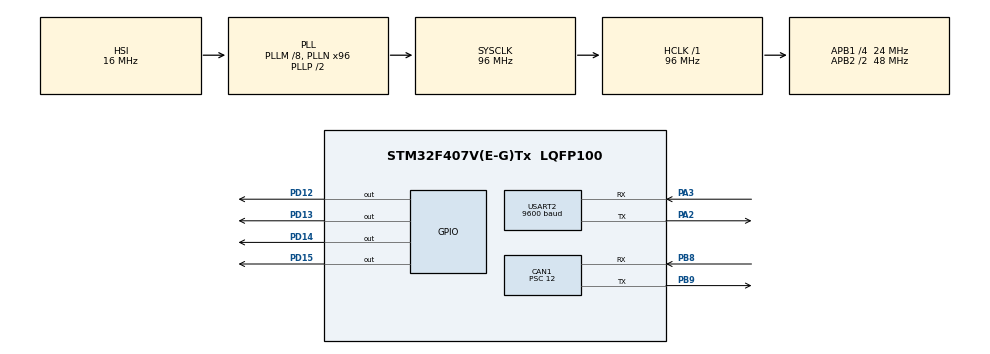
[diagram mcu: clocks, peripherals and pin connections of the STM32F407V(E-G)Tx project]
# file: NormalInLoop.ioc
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CAN1.BS1=CAN_BS1_13TQ
CAN1.BS2=CAN_BS2_2TQ
CAN1.CalculateBaudRate=125000
CAN1.CalculateTimeBit=8000
CAN1.CalculateTimeQuantum=500.0
CAN1.Prescaler=12
Mcu.Family=STM32F4
Mcu.Name=STM32F407V(E-G)Tx
Mcu.Package=LQFP100
NVIC.CAN1_RX0_IRQn=true\:0\:0\:false\:false\:true\:true\:true\:true
NVIC.PriorityGroup=NVIC_PRIORITYGROUP_0
PA2.Mode=Asynchronous
PA2.Signal=USART2_TX
PA3.Mode=Asynchronous
PA3.Signal=USART2_RX
PB8.Mode=CAN_Activate
PB8.Signal=CAN1_RX
PB9.Mode=CAN_Activate
PB9.Signal=CAN1_TX
PD12.Signal=GPIO_Output
PD13.Signal=GPIO_Output
PD14.Signal=GPIO_Output
PD15.Signal=GPIO_Output
PH0-OSC_IN.Mode=HSE-External-Oscillator
PH0-OSC_IN.Signal=RCC_OSC_IN
PH1-OSC_OUT.Mode=HSE-External-Oscillator
PH1-OSC_OUT.Signal=RCC_OSC_OUT
ProjectManager.HeapSize=0x200
ProjectManager.StackSize=0x400
ProjectManager.TargetToolchain=STM32CubeIDE
RCC.48MHZClocksFreq_Value=27428571.42857143
RCC.AHBFreq_Value=96000000
RCC.APB1CLKDivider=RCC_HCLK_DIV4
RCC.APB1Freq_Value=24000000
RCC.APB1TimFreq_Value=48000000
RCC.APB2CLKDivider=RCC_HCLK_DIV2
RCC.APB2Freq_Value=48000000
RCC.APB2TimFreq_Value=96000000
RCC.CortexFreq_Value=96000000
RCC.HCLKFreq_Value=96000000
RCC.HSE_VALUE=8000000
RCC.HSI_VALUE=16000000
RCC.LSE_VALUE=32768
RCC.PLLM=8
RCC.PLLN=96
RCC.PLLQ=7
RCC.SYSCLKFreq_VALUE=96000000
RCC.SYSCLKSource=RCC_SYSCLKSOURCE_PLLCLK
RCC.VCOOutputFreq_Value=192000000
USART2.BaudRate=9600
USART2.VirtualMode=VM_ASYNC
board=STM32F407G-DISC1

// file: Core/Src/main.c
/* USER CODE BEGIN Header */
/**
  ******************************************************************************
  * @file           : main.c
  * @brief          : Main program body
  ******************************************************************************
  * @attention
  *
  * Copyright (c) 2022 STMicroelectronics.
  * All rights reserved.
  *
  * This software is licensed under terms that can be found in the LICENSE file
  * in the root directory of this software component.
  * If no LICENSE file comes with this software, it is provided AS-IS.
  *
  ******************************************************************************
  */
/* USER CODE END Header */
#include "main.h"

/* USER CODE BEGIN Includes */
#include<stdio.h>
#include<string.h>
/* USER CODE END Includes */

 CAN_HandleTypeDef hcan1;

UART_HandleTypeDef huart2;

/* USER CODE BEGIN PV */
CAN_TxHeaderTypeDef TxHeader1;
CAN_RxHeaderTypeDef RxHeader;
uint8_t TxData1[8] , RxData[8];
uint32_t TxMailbox1;
volatile uint32_t flag = 0;
/* USER CODE END PV */

void SystemClock_Config(void);
static void MX_GPIO_Init(void);
static void MX_CAN1_Init(void);
static void MX_USART2_UART_Init(void);
/* USER CODE BEGIN PFP */
void UartTask(uint8_t *ptr);
/* USER CODE END PFP */

int main(void)
{

  /* MCU Configuration--------------------------------------------------------*/

  /* Reset of all peripherals, Initializes the Flash interface and the Systick. */
  HAL_Init();

  /* Configure the system clock */
  SystemClock_Config();

  /* Initialize all configured peripherals */
  MX_GPIO_Init();
  MX_CAN1_Init();
  MX_USART2_UART_Init();
  /* USER CODE BEGIN 2 */
  HAL_CAN_Start(&hcan1);

 HAL_CAN_ActivateNotification(&hcan1, CAN_IT_RX_FIFO0_MSG_PENDING);

	  TxHeader1.StdId = 0x0A8;
	  TxHeader1.RTR = CAN_RTR_DATA;
	  TxHeader1.IDE = CAN_ID_STD;
	  TxHeader1.DLC = 2;
	  TxHeader1.TransmitGlobalTime = DISABLE;
	  TxData1[0] = 0x11;
	  TxData1[1] = 0x22;
  /* USER CODE END 2 */

  /* Infinite loop */
  while (1)
  {
	  HAL_CAN_AddTxMessage(&hcan1, &TxHeader1, TxData1, &TxMailbox1);
	  HAL_Delay(100);
  }
}

void SystemClock_Config(void)
{
  RCC_OscInitTypeDef RCC_OscInitStruct = {0};
  RCC_ClkInitTypeDef RCC_ClkInitStruct = {0};

  /** Configure the main internal regulator output voltage
  */
  __HAL_RCC_PWR_CLK_ENABLE();
  __HAL_PWR_VOLTAGESCALING_CONFIG(PWR_REGULATOR_VOLTAGE_SCALE1);

  /** Initializes the RCC Oscillators according to the specified parameters
  * in the RCC_OscInitTypeDef structure.
  */
  RCC_OscInitStruct.OscillatorType = RCC_OSCILLATORTYPE_HSI;
  RCC_OscInitStruct.HSIState = RCC_HSI_ON;
  RCC_OscInitStruct.HSICalibrationValue = RCC_HSICALIBRATION_DEFAULT;
  RCC_OscInitStruct.PLL.PLLState = RCC_PLL_ON;
  RCC_OscInitStruct.PLL.PLLSource = RCC_PLLSOURCE_HSI;
  RCC_OscInitStruct.PLL.PLLM = 8;
  RCC_OscInitStruct.PLL.PLLN = 96;
  RCC_OscInitStruct.PLL.PLLP = RCC_PLLP_DIV2;
  RCC_OscInitStruct.PLL.PLLQ = 7;
  if (HAL_RCC_OscConfig(&RCC_OscInitStruct) != HAL_OK)
  {
    Error_Handler();
  }

  /** Initializes the CPU, AHB and APB buses clocks
  */
  RCC_ClkInitStruct.ClockType = RCC_CLOCKTYPE_HCLK|RCC_CLOCKTYPE_SYSCLK
                              |RCC_CLOCKTYPE_PCLK1|RCC_CLOCKTYPE_PCLK2;
  RCC_ClkInitStruct.SYSCLKSource = RCC_SYSCLKSOURCE_PLLCLK;
  RCC_ClkInitStruct.AHBCLKDivider = RCC_SYSCLK_DIV1;
  RCC_ClkInitStruct.APB1CLKDivider = RCC_HCLK_DIV4;
  RCC_ClkInitStruct.APB2CLKDivider = RCC_HCLK_DIV2;

  if (HAL_RCC_ClockConfig(&RCC_ClkInitStruct, FLASH_LATENCY_3) != HAL_OK)
  {
    Error_Handler();
  }
}

static void MX_CAN1_Init(void)
{

  hcan1.Instance = CAN1;
  hcan1.Init.Prescaler = 12;
  hcan1.Init.Mode = CAN_MODE_NORMAL;
  hcan1.Init.SyncJumpWidth = CAN_SJW_1TQ;
  hcan1.Init.TimeSeg1 = CAN_BS1_13TQ;
  hcan1.Init.TimeSeg2 = CAN_BS2_2TQ;
  hcan1.Init.TimeTriggeredMode = DISABLE;
  hcan1.Init.AutoBusOff = DISABLE;
  hcan1.Init.AutoWakeUp = DISABLE;
  hcan1.Init.AutoRetransmission = DISABLE;
  hcan1.Init.ReceiveFifoLocked = DISABLE;
  hcan1.Init.TransmitFifoPriority = DISABLE;
  if (HAL_CAN_Init(&hcan1) != HAL_OK)
  {
    Error_Handler();
  }
  /* USER CODE BEGIN CAN1_Init 2 */
  CAN_FilterTypeDef FilterConfig;
  FilterConfig.FilterActivation = CAN_FILTER_ENABLE;
  FilterConfig.FilterFIFOAssignment = CAN_RX_FIFO0;
  FilterConfig.SlaveStartFilterBank = 14;
  FilterConfig.FilterBank = 10;		// Any number from 0 to SlaveStartFilterBank
  FilterConfig.FilterScale = CAN_FILTERSCALE_32BIT;
  FilterConfig.FilterMode = CAN_FILTERMODE_IDMASK;	//CAN_FILTERMODE_IDLIST;
  FilterConfig.FilterMaskIdLow = 0x0000;
  FilterConfig.FilterMaskIdHigh = 0x07F8 << 5;		//id1 = 0x07FA << 5
  FilterConfig.FilterIdLow = 0x0000;
  FilterConfig.FilterIdHigh = 0x00A8 << 5;			//id2 = 0x07FB << 5

  HAL_CAN_ConfigFilter(&hcan1, &FilterConfig);
  /* USER CODE END CAN1_Init 2 */

}

static void MX_USART2_UART_Init(void)
{

  huart2.Instance = USART2;
  huart2.Init.BaudRate = 9600;
  huart2.Init.WordLength = UART_WORDLENGTH_8B;
  huart2.Init.StopBits = UART_STOPBITS_1;
  huart2.Init.Parity = UART_PARITY_NONE;
  huart2.Init.Mode = UART_MODE_TX_RX;
  huart2.Init.HwFlowCtl = UART_HWCONTROL_NONE;
  huart2.Init.OverSampling = UART_OVERSAMPLING_16;
  if (HAL_UART_Init(&huart2) != HAL_OK)
  {
    Error_Handler();
  }

}

static void MX_GPIO_Init(void)
{
  GPIO_InitTypeDef GPIO_InitStruct = {0};

  /* GPIO Ports Clock Enable */
  __HAL_RCC_GPIOH_CLK_ENABLE();
  __HAL_RCC_GPIOA_CLK_ENABLE();
  __HAL_RCC_GPIOD_CLK_ENABLE();
  __HAL_RCC_GPIOB_CLK_ENABLE();

  /*Configure GPIO pin Output Level */
  HAL_GPIO_WritePin(GPIOD, GPIO_PIN_12|GPIO_PIN_13|GPIO_PIN_14|GPIO_PIN_15, GPIO_PIN_RESET);

  /*Configure GPIO pins : PD12 PD13 PD14 PD15 */
  GPIO_InitStruct.Pin = GPIO_PIN_12|GPIO_PIN_13|GPIO_PIN_14|GPIO_PIN_15;
  GPIO_InitStruct.Mode = GPIO_MODE_OUTPUT_PP;
  GPIO_InitStruct.Pull = GPIO_NOPULL;
  GPIO_InitStruct.Speed = GPIO_SPEED_FREQ_LOW;
  HAL_GPIO_Init(GPIOD, &GPIO_InitStruct);

}

/* USER CODE BEGIN 4 */

void HAL_CAN_RxFifo0MsgPendingCallback(CAN_HandleTypeDef *hcan)
{
	if( HAL_CAN_GetRxMessage(&hcan1, CAN_RX_FIFO0, &RxHeader, RxData) != HAL_OK ){
		Error_Handler();
	}
	if((RxHeader.StdId == 0x0A8) && (RxHeader.IDE == CAN_ID_STD) && (RxHeader.DLC == 8)){
		UartTask(RxData);
	}

}
void UartTask(uint8_t *ptr)
{
	char buffer[300];
	sprintf(buffer ,"%d ,%d , %d*", ptr[0] , ptr[1] , ptr[2]);
	HAL_UART_Transmit(&huart2, (uint8_t*)buffer, strlen(buffer), HAL_MAX_DELAY);
}
/* USER CODE END 4 */

void Error_Handler(void)
{
  __disable_irq();
  while (1)
  {
  }
}
